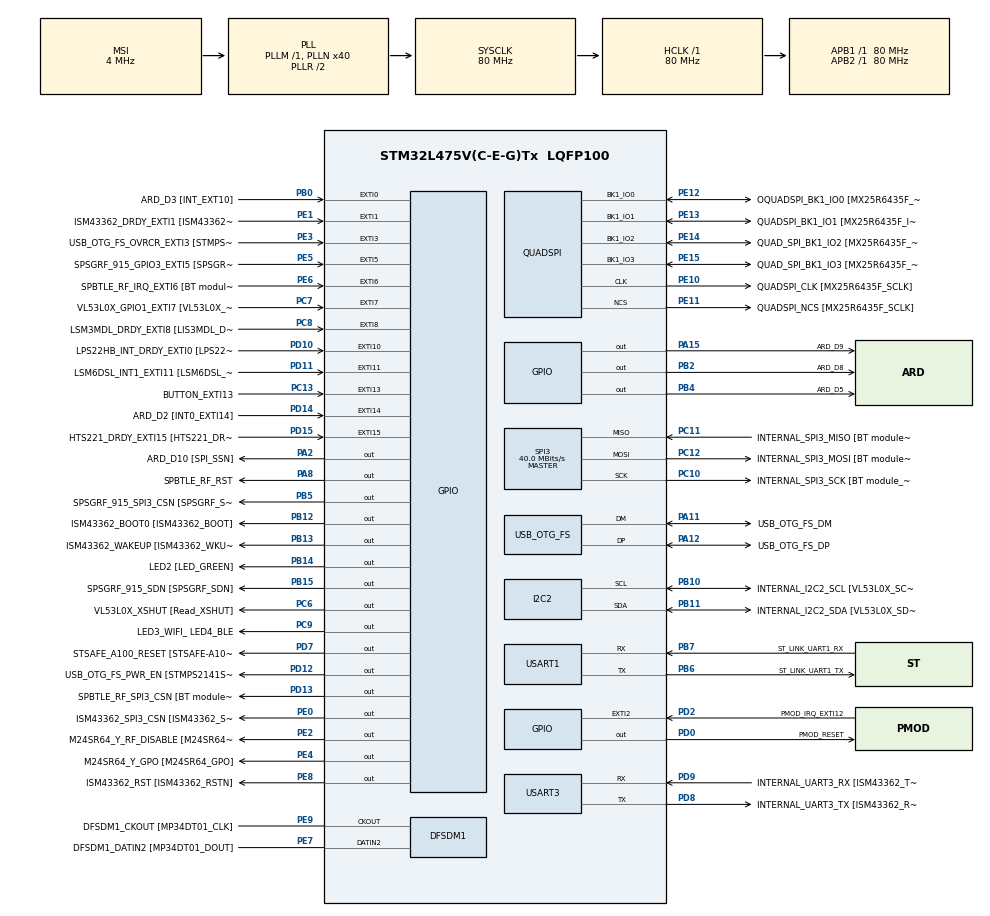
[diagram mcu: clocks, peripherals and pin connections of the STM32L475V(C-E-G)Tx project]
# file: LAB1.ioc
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FREERTOS.BinarySemaphores01=myBinarySem01,Dynamic,NULL,Depleted;myBinarySem02,Dynamic,NULL,Depleted;myBinarySem03,Dynamic,NULL,Available;myBinarySem04,Dynamic,NULL,Available;myBinarySem05,Dynamic,NULL,Available
FREERTOS.Mutexes01=myMutex01,Dynamic,NULL,Depleted;myMutex02,Dynamic,NULL,Depleted;myMutex03,Dynamic,NULL,Depleted;myMutex04,Dynamic,NULL,Depleted;myMutex05,Dynamic,NULL,Available
FREERTOS.Queues01=myQueue01,16,uint16_t,0,Dynamic,NULL,NULL
FREERTOS.Tasks01=myTask02,47,128,StartTask02,Default,NULL,Dynamic,NULL,NULL;defaultTask,24,128,StartTask,Default,NULL,Dynamic,NULL,NULL;myTask03,8,128,StartTask03,Default,NULL,Dynamic,NULL,NULL;myTask04,8,128,StartTask04,Default,NULL,Dynamic,NULL,NULL
I2C2.Timing=0x10D19CE4
Mcu.Family=STM32L4
Mcu.Name=STM32L475V(C-E-G)Tx
Mcu.Package=LQFP100
NVIC.EXTI15_10_IRQn=true\:5\:0\:false\:false\:true\:true\:true\:true\:true
NVIC.EXTI9_5_IRQn=true\:5\:0\:false\:false\:true\:true\:true\:true\:true
NVIC.PriorityGroup=NVIC_PRIORITYGROUP_4
NVIC.TIM6_DAC_IRQn=true\:5\:0\:false\:false\:true\:true\:true\:true\:true
PA0.GPIO_Label=ARD_D1 [UART4_TX]
PA0.Signal=UART4_TX
PA1.GPIO_Label=ARD_D0 [UART4_RX]
PA1.Signal=UART4_RX
PA10.GPIO_Label=USB_OTG_FS_ID
PA10.Signal=USB_OTG_FS_ID
PA11.GPIO_Label=USB_OTG_FS_DM
PA11.Mode=Device_Only
PA11.Signal=USB_OTG_FS_DM
PA12.GPIO_Label=USB_OTG_FS_DP
PA12.Mode=Device_Only
PA12.Signal=USB_OTG_FS_DP
PA13\ (JTMS-SWDIO).GPIO_Label=SYS_JTMS_SWDIO
PA13\ (JTMS-SWDIO).Mode=Trace_Asynchronous_SW
PA13\ (JTMS-SWDIO).Signal=SYS_JTMS-SWDIO
PA14\ (JTCK-SWCLK).GPIO_Label=SYS_JTCK_SWCLK
PA14\ (JTCK-SWCLK).Mode=Trace_Asynchronous_SW
PA14\ (JTCK-SWCLK).Signal=SYS_JTCK-SWCLK
PA15\ (JTDI).GPIO_Label=ARD_D9
PA15\ (JTDI).Signal=GPIO_Output
PA2.GPIO_Label=ARD_D10 [SPI_SSN]
PA2.Signal=GPIO_Output
PA3.GPIO_Label=ARD_D4
PA3.Signal=S_TIM2_CH4
PA4.GPIO_Label=ARD_D7
PA4.Signal=ADCx_IN9
PA5.GPIO_Label=ARD_D13 [SPI1_SCK]
PA5.Signal=SPI1_SCK
PA6.GPIO_Label=ARD_D12 [SPI1_MISO]
PA6.Signal=SPI1_MISO
PA7.GPIO_Label=ARD_D11 [SPI1_MOSI]
PA7.Signal=SPI1_MOSI
PA8.GPIO_Label=SPBTLE_RF_RST
PA8.Signal=GPIO_Output
PA9.GPIO_Label=USB_OTG_FS_VBUS [STMPS2141STR_OUT]
PA9.Signal=USB_OTG_FS_VBUS
PB0.GPIO_Label=ARD_D3 [INT_EXT10]
PB0.Signal=GPXTI0
PB1.GPIO_Label=ARD_D6 [ADC1_IN6]
PB1.Signal=ADCx_IN16
PB10.GPIO_Label=INTERNAL_I2C2_SCL [VL53L0X_SCL]
PB10.GPIO_Pu=GPIO_PULLUP
PB10.Mode=I2C
PB10.Signal=I2C2_SCL
PB11.GPIO_Label=INTERNAL_I2C2_SDA [VL53L0X_SDA]
PB11.GPIO_Pu=GPIO_PULLUP
PB11.Mode=I2C
PB11.Signal=I2C2_SDA
PB12.GPIO_Label=ISM43362_BOOT0 [ISM43362_BOOT]
PB12.Signal=GPIO_Output
PB13.GPIO_Label=ISM43362_WAKEUP [ISM43362_WKUP]
PB13.Signal=GPIO_Output
PB14.GPIO_Label=LED2 [LED_GREEN]
PB14.Signal=GPIO_Output
PB15.GPIO_Label=SPSGRF_915_SDN [SPSGRF_SDN]
PB15.Signal=GPIO_Output
PB2.GPIO_Label=ARD_D8
PB2.Signal=GPIO_Output
PB3\ (JTDO-TRACESWO).GPIO_Label=SYS_JTD0_SWO
PB3\ (JTDO-TRACESWO).Mode=Trace_Asynchronous_SW
PB3\ (JTDO-TRACESWO).Signal=SYS_JTDO-SWO
PB4\ (NJTRST).GPIO_Label=ARD_D5
PB4\ (NJTRST).Signal=GPIO_Output
PB5.GPIO_Label=SPSGRF_915_SPI3_CSN [SPSGRF_SPI_CS]
PB5.PinState=GPIO_PIN_SET
PB5.Signal=GPIO_Output
PB6.GPIO_Label=ST_LINK_UART1_TX
PB6.Mode=Asynchronous
PB6.Signal=USART1_TX
PB7.GPIO_Label=ST_LINK_UART1_RX
PB7.Mode=Asynchronous
PB7.Signal=USART1_RX
PB8.GPIO_Label=ARD_D15 [I2C1_SCL]
PB8.Signal=I2C1_SCL
PB9.GPIO_Label=ARD_D14 [I2C1_SDA]
PB9.Signal=I2C1_SDA
PC0.GPIO_Label=ARD_A5 [ADC]
PC0.Signal=ADCx_IN1
PC1.GPIO_Label=ARD_A4 [ADC]
PC1.Signal=ADCx_IN2
PC10.GPIO_Label=INTERNAL_SPI3_SCK [BT module_SPI_SCLK] [ISM43362_SCK]
PC10.Mode=Full_Duplex_Master
PC10.Signal=SPI3_SCK
PC11.GPIO_Label=INTERNAL_SPI3_MISO [BT module_SPI_MISO] [ISM43362_MISO]
PC11.Mode=Full_Duplex_Master
PC11.Signal=SPI3_MISO
PC12.GPIO_Label=INTERNAL_SPI3_MOSI [BT module_SPI_MOSI] [ISM43362_MOSI]
PC12.Mode=Full_Duplex_Master
PC12.Signal=SPI3_MOSI
PC13.GPIO_Label=BUTTON_EXTI13
PC13.GPIO_ModeDefaultEXTI=GPIO_MODE_IT_RISING_FALLING
PC13.Signal=GPXTI13
PC14-OSC32_IN\ (PC14).Mode=LSE-External-Oscillator
PC14-OSC32_IN\ (PC14).Signal=RCC_OSC32_IN
PC15-OSC32_OUT\ (PC15).Mode=LSE-External-Oscillator
PC15-OSC32_OUT\ (PC15).Signal=RCC_OSC32_OUT
PC2.GPIO_Label=ARD_A3 [ADC]
PC2.Signal=ADCx_IN3
PC3.GPIO_Label=ARD_A2 [ADC]
PC3.Signal=ADCx_IN4
PC4.GPIO_Label=ARD_A1 [ADC]
PC4.Signal=ADCx_IN13
PC5.GPIO_Label=ARD_A0 [ADC]
PC5.Signal=ADCx_IN14
PC6.GPIO_Label=VL53L0X_XSHUT [Read_XSHUT]
PC6.Signal=GPIO_Output
PC7.GPIO_Label=VL53L0X_GPIO1_EXTI7 [VL53L0X_GPIO1]
PC7.Signal=GPXTI7
PC8.GPIO_Label=LSM3MDL_DRDY_EXTI8 [LIS3MDL_DRDY]
PC8.Signal=GPXTI8
PC9.GPIO_Label=LED3_WIFI_ LED4_BLE
PC9.Signal=GPIO_Output
PD0.GPIO_Label=PMOD_RESET
PD0.Signal=GPIO_Output
PD1.GPIO_Label=PMOD_SPI2_SCK
PD1.Signal=SPI2_SCK
PD10.GPIO_Label=LPS22HB_INT_DRDY_EXTI0 [LPS22HB_INT_DRDY] 
PD10.Signal=GPXTI10
PD11.GPIO_Label=LSM6DSL_INT1_EXTI11 [LSM6DSL_INT1]
PD11.Signal=GPXTI11
PD12.GPIO_Label=USB_OTG_FS_PWR_EN [STMPS2141STR_EN]
PD12.Signal=GPIO_Output
PD13.GPIO_Label=SPBTLE_RF_SPI3_CSN [BT module_SPI_CS]
PD13.PinState=GPIO_PIN_SET
PD13.Signal=GPIO_Output
PD14.GPIO_Label=ARD_D2 [INT0_EXTI14]
PD14.Signal=GPXTI14
PD15.GPIO_Label=HTS221_DRDY_EXTI15 [HTS221_DRDY]
PD15.Signal=GPXTI15
PD2.GPIO_Label=PMOD_IRQ_EXTI12
PD2.Signal=GPXTI2
PD3.GPIO_Label=PMOD_UART2_CTS
PD3.Signal=USART2_CTS
PD4.GPIO_Label=PMOD_UART2_RTS
PD4.Signal=USART2_RTS
PD5.GPIO_Label=PMOD_UART2_TX
PD5.Signal=USART2_TX
PD6.GPIO_Label=PMOD_UART2_RX
PD6.Signal=USART2_RX
PD7.GPIO_Label=STSAFE_A100_RESET [STSAFE-A100_RESET]
PD7.Signal=GPIO_Output
PD8.GPIO_Label=INTERNAL_UART3_TX [ISM43362_RX]
PD8.Mode=Asynchronous
PD8.Signal=USART3_TX
PD9.GPIO_Label=INTERNAL_UART3_RX [ISM43362_TX]
PD9.Mode=Asynchronous
PD9.Signal=USART3_RX
PE0.GPIO_Label=ISM43362_SPI3_CSN [ISM43362_SSN]
PE0.PinState=GPIO_PIN_SET
PE0.Signal=GPIO_Output
PE1.GPIO_Label=ISM43362_DRDY_EXTI1 [ISM43362_DATARDY]
PE1.Signal=GPXTI1
PE10.GPIO_Label=QUADSPI_CLK [MX25R6435F_SCLK]
PE10.Mode=Single Bank
PE10.Signal=QUADSPI_CLK
PE11.GPIO_Label=QUADSPI_NCS [MX25R6435F_SCLK]
PE11.Mode=Single Bank
PE11.Signal=QUADSPI_NCS
PE12.GPIO_Label=OQUADSPI_BK1_IO0 [MX25R6435F_IO0]
PE12.Mode=Single Bank
PE12.Signal=QUADSPI_BK1_IO0
PE13.GPIO_Label=QUADSPI_BK1_IO1 [MX25R6435F_IO1]
PE13.Mode=Single Bank
PE13.Signal=QUADSPI_BK1_IO1
PE14.GPIO_Label=QUAD_SPI_BK1_IO2 [MX25R6435F_IO2]
PE14.Mode=Single Bank
PE14.Signal=QUADSPI_BK1_IO2
PE15.GPIO_Label=QUAD_SPI_BK1_IO3 [MX25R6435F_IO3]
PE15.Mode=Single Bank
PE15.Signal=QUADSPI_BK1_IO3
PE2.GPIO_Label=M24SR64_Y_RF_DISABLE [M24SR64_RFDIS]
PE2.Signal=GPIO_Output
PE3.GPIO_Label=USB_OTG_FS_OVRCR_EXTI3 [STMPS2141STR_FAULT]
PE3.Signal=GPXTI3
PE4.GPIO_Label=M24SR64_Y_GPO [M24SR64_GPO]
PE4.Signal=GPIO_Output
PE5.GPIO_Label=SPSGRF_915_GPIO3_EXTI5 [SPSGRF_GPIO_3]
PE5.Signal=GPXTI5
PE6.GPIO_Label=SPBTLE_RF_IRQ_EXTI6 [BT module_SPI_IRQ]
PE6.Signal=GPXTI6
PE7.GPIO_Label=DFSDM1_DATIN2 [MP34DT01_DOUT]
PE7.Signal=S_DATAIN2DFSDM1
PE8.GPIO_Label=ISM43362_RST [ISM43362_RSTN]
PE8.Signal=GPIO_Output
PE9.GPIO_Label=DFSDM1_CKOUT [MP34DT01_CLK]
PE9.Signal=S_CKOUTDFSDM1
ProjectManager.HeapSize=0x200
ProjectManager.StackSize=0x400
ProjectManager.TargetToolchain=STM32CubeIDE
QUADSPI.ClockPrescaler=2
QUADSPI.FifoThreshold=4
QUADSPI.FlashSize=23
QUADSPI.SampleShifting=QSPI_SAMPLE_SHIFTING_HALFCYCLE
RCC.ADCFreq_Value=48000000
RCC.AHBFreq_Value=80000000
RCC.APB1Freq_Value=80000000
RCC.APB1TimFreq_Value=80000000
RCC.APB2Freq_Value=80000000
RCC.APB2TimFreq_Value=80000000
RCC.CortexFreq_Value=80000000
RCC.HCLKFreq_Value=80000000
RCC.HSE_VALUE=8000000
RCC.HSI_VALUE=16000000
RCC.MSI_VALUE=4000000
RCC.PLLN=40
RCC.PLLSAI1N=24
RCC.SYSCLKFreq_VALUE=80000000
RCC.SYSCLKSource=RCC_SYSCLKSOURCE_PLLCLK
RCC.USBFreq_Value=48000000
RCC.VCOOutputFreq_Value=160000000
SH.ADCx_IN1.0=ADC1_IN1
SH.ADCx_IN13.0=ADC1_IN13
SH.ADCx_IN14.0=ADC1_IN14
SH.ADCx_IN16.0=ADC1_IN16
SH.ADCx_IN2.0=ADC1_IN2
SH.ADCx_IN3.0=ADC1_IN3
SH.ADCx_IN4.0=ADC1_IN4
SH.ADCx_IN9.0=ADC1_IN9
SH.S_CKOUTDFSDM1.0=DFSDM1_CKOUT,CKOUT
SH.S_CKOUTDFSDM1.1=DFSDM1_CKOUT,PDM_SPI_Input_from_ch12_and_Internal_Clock
SH.S_DATAIN2DFSDM1.0=DFSDM1_DATIN2,PDM_SPI_Input_from_ch12_and_Internal_Clock
SH.S_TIM2_CH4.0=TIM2_CH4
SPI3.CalculateBaudRate=40.0 MBits/s
SPI3.Direction=SPI_DIRECTION_2LINES
SPI3.Mode=SPI_MODE_MASTER
SPI3.VirtualType=VM_MASTER
TIM6.AutoReloadPreload=TIM_AUTORELOAD_PRELOAD_ENABLE
TIM6.Period=19999
TIM6.Prescaler=39999
USART1.VirtualMode-Asynchronous=VM_ASYNC
USART3.VirtualMode-Asynchronous=VM_ASYNC
USB_OTG_FS.VirtualMode=Device_Only
VP_FREERTOS_VS_CMSIS_V2.Mode=CMSIS_V2
VP_TIM6_VS_ClockSourceINT.Mode=Enable_Timer
board=B-L475E-IOT01A2

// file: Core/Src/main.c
/* USER CODE BEGIN Header */
/**
  ******************************************************************************
  * @file           : main.c
  * @brief          : Main program body
  ******************************************************************************
  * @attention
  *
  * Copyright (c) 2024 STMicroelectronics.
  * All rights reserved.
  *
  * This software is licensed under terms that can be found in the LICENSE file
  * in the root directory of this software component.
  * If no LICENSE file comes with this software, it is provided AS-IS.
  *
  ******************************************************************************
  */
/* USER CODE END Header */
#include "main.h"
#include "cmsis_os.h"

DFSDM_Channel_HandleTypeDef hdfsdm1_channel1;

I2C_HandleTypeDef hi2c2;

QSPI_HandleTypeDef hqspi;

SPI_HandleTypeDef hspi3;

TIM_HandleTypeDef htim6;

UART_HandleTypeDef huart1;
UART_HandleTypeDef huart3;

PCD_HandleTypeDef hpcd_USB_OTG_FS;

/* Definitions for myTask02 */
osThreadId_t myTask02Handle;
const osThreadAttr_t myTask02_attributes = {
  .name = "myTask02",
  .stack_size = 128 * 4,
  .priority = (osPriority_t) osPriorityHigh7,
};
/* Definitions for defaultTask */
osThreadId_t defaultTaskHandle;
const osThreadAttr_t defaultTask_attributes = {
  .name = "defaultTask",
  .stack_size = 128 * 4,
  .priority = (osPriority_t) osPriorityNormal,
};
/* Definitions for myTask03 */
osThreadId_t myTask03Handle;
const osThreadAttr_t myTask03_attributes = {
  .name = "myTask03",
  .stack_size = 128 * 4,
  .priority = (osPriority_t) osPriorityLow,
};
/* Definitions for myTask04 */
osThreadId_t myTask04Handle;
const osThreadAttr_t myTask04_attributes = {
  .name = "myTask04",
  .stack_size = 128 * 4,
  .priority = (osPriority_t) osPriorityLow,
};
/* Definitions for myQueue01 */
osMessageQueueId_t myQueue01Handle;
const osMessageQueueAttr_t myQueue01_attributes = {
  .name = "myQueue01"
};
/* Definitions for myMutex01 */
osMutexId_t myMutex01Handle;
const osMutexAttr_t myMutex01_attributes = {
  .name = "myMutex01"
};
/* Definitions for myMutex02 */
osMutexId_t myMutex02Handle;
const osMutexAttr_t myMutex02_attributes = {
  .name = "myMutex02"
};
/* Definitions for myMutex03 */
osMutexId_t myMutex03Handle;
const osMutexAttr_t myMutex03_attributes = {
  .name = "myMutex03"
};
/* Definitions for myMutex04 */
osMutexId_t myMutex04Handle;
const osMutexAttr_t myMutex04_attributes = {
  .name = "myMutex04"
};
/* Definitions for myMutex05 */
osMutexId_t myMutex05Handle;
const osMutexAttr_t myMutex05_attributes = {
  .name = "myMutex05"
};
/* Definitions for myBinarySem01 */
osSemaphoreId_t myBinarySem01Handle;
const osSemaphoreAttr_t myBinarySem01_attributes = {
  .name = "myBinarySem01"
};
/* Definitions for myBinarySem02 */
osSemaphoreId_t myBinarySem02Handle;
const osSemaphoreAttr_t myBinarySem02_attributes = {
  .name = "myBinarySem02"
};
/* Definitions for myBinarySem03 */
osSemaphoreId_t myBinarySem03Handle;
const osSemaphoreAttr_t myBinarySem03_attributes = {
  .name = "myBinarySem03"
};
/* Definitions for myBinarySem04 */
osSemaphoreId_t myBinarySem04Handle;
const osSemaphoreAttr_t myBinarySem04_attributes = {
  .name = "myBinarySem04"
};
/* Definitions for myBinarySem05 */
osSemaphoreId_t myBinarySem05Handle;
const osSemaphoreAttr_t myBinarySem05_attributes = {
  .name = "myBinarySem05"
};

void SystemClock_Config(void);
static void MX_GPIO_Init(void);
static void MX_DFSDM1_Init(void);
static void MX_I2C2_Init(void);
static void MX_QUADSPI_Init(void);
static void MX_SPI3_Init(void);
static void MX_USART1_UART_Init(void);
static void MX_USART3_UART_Init(void);
static void MX_USB_OTG_FS_PCD_Init(void);
static void MX_TIM6_Init(void);
void StartTask02(void *argument);
void StartTask(void *argument);
void StartTask03(void *argument);
void StartTask04(void *argument);

int main(void)
{

  /* MCU Configuration--------------------------------------------------------*/

  /* Reset of all peripherals, Initializes the Flash interface and the Systick. */
  HAL_Init();

  /* Configure the system clock */
  SystemClock_Config();

  /* Initialize all configured peripherals */
  MX_GPIO_Init();
  MX_DFSDM1_Init();
  MX_I2C2_Init();
  MX_QUADSPI_Init();
  MX_SPI3_Init();
  MX_USART1_UART_Init();
  MX_USART3_UART_Init();
  MX_USB_OTG_FS_PCD_Init();
  MX_TIM6_Init();

  /* Init scheduler */
  osKernelInitialize();
  /* Create the mutex(es) */
  /* creation of myMutex01 */
  myMutex01Handle = osMutexNew(&myMutex01_attributes);

  /* creation of myMutex02 */
  myMutex02Handle = osMutexNew(&myMutex02_attributes);

  /* creation of myMutex03 */
  myMutex03Handle = osMutexNew(&myMutex03_attributes);

  /* creation of myMutex04 */
  myMutex04Handle = osMutexNew(&myMutex04_attributes);

  /* creation of myMutex05 */
  myMutex05Handle = osMutexNew(&myMutex05_attributes);

  /* Create the semaphores(s) */
  /* creation of myBinarySem01 */
  myBinarySem01Handle = osSemaphoreNew(1, 0, &myBinarySem01_attributes);

  /* creation of myBinarySem02 */
  myBinarySem02Handle = osSemaphoreNew(1, 0, &myBinarySem02_attributes);

  /* creation of myBinarySem03 */
  myBinarySem03Handle = osSemaphoreNew(1, 1, &myBinarySem03_attributes);

  /* creation of myBinarySem04 */
  myBinarySem04Handle = osSemaphoreNew(1, 1, &myBinarySem04_attributes);

  /* creation of myBinarySem05 */
  myBinarySem05Handle = osSemaphoreNew(1, 1, &myBinarySem05_attributes);

  /* USER CODE BEGIN RTOS_TIMERS */
  /* start timers, add new ones, ... */
//  HAL_TIM_Base_Start_IT(&htim6);
  HAL_TIM_Base_Start_IT(&htim6);
//  HAL_TIM_Base_Start(&htim6);
//  HAL_TIM_Base_Start(&htim6);
  /* USER CODE END RTOS_TIMERS */

  /* Create the queue(s) */
  /* creation of myQueue01 */
  myQueue01Handle = osMessageQueueNew (16, sizeof(uint16_t), &myQueue01_attributes);

  /* Create the thread(s) */
  /* creation of myTask02 */
  myTask02Handle = osThreadNew(StartTask02, NULL, &myTask02_attributes);

  /* creation of defaultTask */
  defaultTaskHandle = osThreadNew(StartTask, NULL, &defaultTask_attributes);

  /* creation of myTask03 */
  myTask03Handle = osThreadNew(StartTask03, NULL, &myTask03_attributes);

  /* creation of myTask04 */
  myTask04Handle = osThreadNew(StartTask04, NULL, &myTask04_attributes);

  /* Start scheduler */
  osKernelStart();

  /* We should never get here as control is now taken by the scheduler */

  /* Infinite loop */
  while (1)
  {

  }
}

void SystemClock_Config(void)
{
  RCC_OscInitTypeDef RCC_OscInitStruct = {0};
  RCC_ClkInitTypeDef RCC_ClkInitStruct = {0};

  /** Configure the main internal regulator output voltage
  */
  if (HAL_PWREx_ControlVoltageScaling(PWR_REGULATOR_VOLTAGE_SCALE1) != HAL_OK)
  {
    Error_Handler();
  }

  /** Configure LSE Drive Capability
  */
  HAL_PWR_EnableBkUpAccess();
  __HAL_RCC_LSEDRIVE_CONFIG(RCC_LSEDRIVE_LOW);

  /** Initializes the RCC Oscillators according to the specified parameters
  * in the RCC_OscInitTypeDef structure.
  */
  RCC_OscInitStruct.OscillatorType = RCC_OSCILLATORTYPE_LSE|RCC_OSCILLATORTYPE_MSI;
  RCC_OscInitStruct.LSEState = RCC_LSE_ON;
  RCC_OscInitStruct.MSIState = RCC_MSI_ON;
  RCC_OscInitStruct.MSICalibrationValue = 0;
  RCC_OscInitStruct.MSIClockRange = RCC_MSIRANGE_6;
  RCC_OscInitStruct.PLL.PLLState = RCC_PLL_ON;
  RCC_OscInitStruct.PLL.PLLSource = RCC_PLLSOURCE_MSI;
  RCC_OscInitStruct.PLL.PLLM = 1;
  RCC_OscInitStruct.PLL.PLLN = 40;
  RCC_OscInitStruct.PLL.PLLP = RCC_PLLP_DIV7;
  RCC_OscInitStruct.PLL.PLLQ = RCC_PLLQ_DIV2;
  RCC_OscInitStruct.PLL.PLLR = RCC_PLLR_DIV2;
  if (HAL_RCC_OscConfig(&RCC_OscInitStruct) != HAL_OK)
  {
    Error_Handler();
  }

  /** Initializes the CPU, AHB and APB buses clocks
  */
  RCC_ClkInitStruct.ClockType = RCC_CLOCKTYPE_HCLK|RCC_CLOCKTYPE_SYSCLK
                              |RCC_CLOCKTYPE_PCLK1|RCC_CLOCKTYPE_PCLK2;
  RCC_ClkInitStruct.SYSCLKSource = RCC_SYSCLKSOURCE_PLLCLK;
  RCC_ClkInitStruct.AHBCLKDivider = RCC_SYSCLK_DIV1;
  RCC_ClkInitStruct.APB1CLKDivider = RCC_HCLK_DIV1;
  RCC_ClkInitStruct.APB2CLKDivider = RCC_HCLK_DIV1;

  if (HAL_RCC_ClockConfig(&RCC_ClkInitStruct, FLASH_LATENCY_4) != HAL_OK)
  {
    Error_Handler();
  }

  /** Enable MSI Auto calibration
  */
  HAL_RCCEx_EnableMSIPLLMode();
}

static void MX_DFSDM1_Init(void)
{

  hdfsdm1_channel1.Instance = DFSDM1_Channel1;
  hdfsdm1_channel1.Init.OutputClock.Activation = ENABLE;
  hdfsdm1_channel1.Init.OutputClock.Selection = DFSDM_CHANNEL_OUTPUT_CLOCK_SYSTEM;
  hdfsdm1_channel1.Init.OutputClock.Divider = 2;
  hdfsdm1_channel1.Init.Input.Multiplexer = DFSDM_CHANNEL_EXTERNAL_INPUTS;
  hdfsdm1_channel1.Init.Input.DataPacking = DFSDM_CHANNEL_STANDARD_MODE;
  hdfsdm1_channel1.Init.Input.Pins = DFSDM_CHANNEL_FOLLOWING_CHANNEL_PINS;
  hdfsdm1_channel1.Init.SerialInterface.Type = DFSDM_CHANNEL_SPI_RISING;
  hdfsdm1_channel1.Init.SerialInterface.SpiClock = DFSDM_CHANNEL_SPI_CLOCK_INTERNAL;
  hdfsdm1_channel1.Init.Awd.FilterOrder = DFSDM_CHANNEL_FASTSINC_ORDER;
  hdfsdm1_channel1.Init.Awd.Oversampling = 1;
  hdfsdm1_channel1.Init.Offset = 0;
  hdfsdm1_channel1.Init.RightBitShift = 0x00;
  if (HAL_DFSDM_ChannelInit(&hdfsdm1_channel1) != HAL_OK)
  {
    Error_Handler();
  }

}

static void MX_I2C2_Init(void)
{

  hi2c2.Instance = I2C2;
  hi2c2.Init.Timing = 0x10D19CE4;
  hi2c2.Init.OwnAddress1 = 0;
  hi2c2.Init.AddressingMode = I2C_ADDRESSINGMODE_7BIT;
  hi2c2.Init.DualAddressMode = I2C_DUALADDRESS_DISABLE;
  hi2c2.Init.OwnAddress2 = 0;
  hi2c2.Init.OwnAddress2Masks = I2C_OA2_NOMASK;
  hi2c2.Init.GeneralCallMode = I2C_GENERALCALL_DISABLE;
  hi2c2.Init.NoStretchMode = I2C_NOSTRETCH_DISABLE;
  if (HAL_I2C_Init(&hi2c2) != HAL_OK)
  {
    Error_Handler();
  }

  /** Configure Analogue filter
  */
  if (HAL_I2CEx_ConfigAnalogFilter(&hi2c2, I2C_ANALOGFILTER_ENABLE) != HAL_OK)
  {
    Error_Handler();
  }

  /** Configure Digital filter
  */
  if (HAL_I2CEx_ConfigDigitalFilter(&hi2c2, 0) != HAL_OK)
  {
    Error_Handler();
  }

}

static void MX_QUADSPI_Init(void)
{

  /* QUADSPI parameter configuration*/
  hqspi.Instance = QUADSPI;
  hqspi.Init.ClockPrescaler = 2;
  hqspi.Init.FifoThreshold = 4;
  hqspi.Init.SampleShifting = QSPI_SAMPLE_SHIFTING_HALFCYCLE;
  hqspi.Init.FlashSize = 23;
  hqspi.Init.ChipSelectHighTime = QSPI_CS_HIGH_TIME_1_CYCLE;
  hqspi.Init.ClockMode = QSPI_CLOCK_MODE_0;
  if (HAL_QSPI_Init(&hqspi) != HAL_OK)
  {
    Error_Handler();
  }

}

static void MX_SPI3_Init(void)
{

  /* SPI3 parameter configuration*/
  hspi3.Instance = SPI3;
  hspi3.Init.Mode = SPI_MODE_MASTER;
  hspi3.Init.Direction = SPI_DIRECTION_2LINES;
  hspi3.Init.DataSize = SPI_DATASIZE_4BIT;
  hspi3.Init.CLKPolarity = SPI_POLARITY_LOW;
  hspi3.Init.CLKPhase = SPI_PHASE_1EDGE;
  hspi3.Init.NSS = SPI_NSS_SOFT;
  hspi3.Init.BaudRatePrescaler = SPI_BAUDRATEPRESCALER_2;
  hspi3.Init.FirstBit = SPI_FIRSTBIT_MSB;
  hspi3.Init.TIMode = SPI_TIMODE_DISABLE;
  hspi3.Init.CRCCalculation = SPI_CRCCALCULATION_DISABLE;
  hspi3.Init.CRCPolynomial = 7;
  hspi3.Init.CRCLength = SPI_CRC_LENGTH_DATASIZE;
  hspi3.Init.NSSPMode = SPI_NSS_PULSE_ENABLE;
  if (HAL_SPI_Init(&hspi3) != HAL_OK)
  {
    Error_Handler();
  }

}

static void MX_TIM6_Init(void)
{

  TIM_MasterConfigTypeDef sMasterConfig = {0};

  htim6.Instance = TIM6;
  htim6.Init.Prescaler = 39999;
  htim6.Init.CounterMode = TIM_COUNTERMODE_UP;
  htim6.Init.Period = 19999;
  htim6.Init.AutoReloadPreload = TIM_AUTORELOAD_PRELOAD_ENABLE;
  if (HAL_TIM_Base_Init(&htim6) != HAL_OK)
  {
    Error_Handler();
  }
  sMasterConfig.MasterOutputTrigger = TIM_TRGO_RESET;
  sMasterConfig.MasterSlaveMode = TIM_MASTERSLAVEMODE_DISABLE;
  if (HAL_TIMEx_MasterConfigSynchronization(&htim6, &sMasterConfig) != HAL_OK)
  {
    Error_Handler();
  }

}

static void MX_USART1_UART_Init(void)
{

  huart1.Instance = USART1;
  huart1.Init.BaudRate = 115200;
  huart1.Init.WordLength = UART_WORDLENGTH_8B;
  huart1.Init.StopBits = UART_STOPBITS_1;
  huart1.Init.Parity = UART_PARITY_NONE;
  huart1.Init.Mode = UART_MODE_TX_RX;
  huart1.Init.HwFlowCtl = UART_HWCONTROL_NONE;
  huart1.Init.OverSampling = UART_OVERSAMPLING_16;
  huart1.Init.OneBitSampling = UART_ONE_BIT_SAMPLE_DISABLE;
  huart1.AdvancedInit.AdvFeatureInit = UART_ADVFEATURE_NO_INIT;
  if (HAL_UART_Init(&huart1) != HAL_OK)
  {
    Error_Handler();
  }

}

static void MX_USART3_UART_Init(void)
{

  huart3.Instance = USART3;
  huart3.Init.BaudRate = 115200;
  huart3.Init.WordLength = UART_WORDLENGTH_8B;
  huart3.Init.StopBits = UART_STOPBITS_1;
  huart3.Init.Parity = UART_PARITY_NONE;
  huart3.Init.Mode = UART_MODE_TX_RX;
  huart3.Init.HwFlowCtl = UART_HWCONTROL_NONE;
  huart3.Init.OverSampling = UART_OVERSAMPLING_16;
  huart3.Init.OneBitSampling = UART_ONE_BIT_SAMPLE_DISABLE;
  huart3.AdvancedInit.AdvFeatureInit = UART_ADVFEATURE_NO_INIT;
  if (HAL_UART_Init(&huart3) != HAL_OK)
  {
    Error_Handler();
  }

}

static void MX_USB_OTG_FS_PCD_Init(void)
{

  hpcd_USB_OTG_FS.Instance = USB_OTG_FS;
  hpcd_USB_OTG_FS.Init.dev_endpoints = 6;
  hpcd_USB_OTG_FS.Init.speed = PCD_SPEED_FULL;
  hpcd_USB_OTG_FS.Init.phy_itface = PCD_PHY_EMBEDDED;
  hpcd_USB_OTG_FS.Init.Sof_enable = DISABLE;
  hpcd_USB_OTG_FS.Init.low_power_enable = DISABLE;
  hpcd_USB_OTG_FS.Init.lpm_enable = DISABLE;
  hpcd_USB_OTG_FS.Init.battery_charging_enable = DISABLE;
  hpcd_USB_OTG_FS.Init.use_dedicated_ep1 = DISABLE;
  hpcd_USB_OTG_FS.Init.vbus_sensing_enable = DISABLE;
  if (HAL_PCD_Init(&hpcd_USB_OTG_FS) != HAL_OK)
  {
    Error_Handler();
  }

}

static void MX_GPIO_Init(void)
{
  GPIO_InitTypeDef GPIO_InitStruct = {0};

  /* GPIO Ports Clock Enable */
  __HAL_RCC_GPIOE_CLK_ENABLE();
  __HAL_RCC_GPIOC_CLK_ENABLE();
  __HAL_RCC_GPIOA_CLK_ENABLE();
  __HAL_RCC_GPIOB_CLK_ENABLE();
  __HAL_RCC_GPIOD_CLK_ENABLE();

  /*Configure GPIO pin Output Level */
  HAL_GPIO_WritePin(GPIOE, M24SR64_Y_RF_DISABLE_Pin|M24SR64_Y_GPO_Pin|ISM43362_RST_Pin, GPIO_PIN_RESET);

  /*Configure GPIO pin Output Level */
  HAL_GPIO_WritePin(GPIOA, ARD_D10_Pin|SPBTLE_RF_RST_Pin|ARD_D9_Pin, GPIO_PIN_RESET);

  /*Configure GPIO pin Output Level */
  HAL_GPIO_WritePin(GPIOB, ARD_D8_Pin|ISM43362_BOOT0_Pin|ISM43362_WAKEUP_Pin|LED2_Pin
                          |SPSGRF_915_SDN_Pin|ARD_D5_Pin, GPIO_PIN_RESET);

  /*Configure GPIO pin Output Level */
  HAL_GPIO_WritePin(GPIOD, USB_OTG_FS_PWR_EN_Pin|PMOD_RESET_Pin|STSAFE_A100_RESET_Pin, GPIO_PIN_RESET);

  /*Configure GPIO pin Output Level */
  HAL_GPIO_WritePin(SPBTLE_RF_SPI3_CSN_GPIO_Port, SPBTLE_RF_SPI3_CSN_Pin, GPIO_PIN_SET);

  /*Configure GPIO pin Output Level */
  HAL_GPIO_WritePin(GPIOC, VL53L0X_XSHUT_Pin|LED3_WIFI__LED4_BLE_Pin, GPIO_PIN_RESET);

  /*Configure GPIO pin Output Level */
  HAL_GPIO_WritePin(SPSGRF_915_SPI3_CSN_GPIO_Port, SPSGRF_915_SPI3_CSN_Pin, GPIO_PIN_SET);

  /*Configure GPIO pin Output Level */
  HAL_GPIO_WritePin(ISM43362_SPI3_CSN_GPIO_Port, ISM43362_SPI3_CSN_Pin, GPIO_PIN_SET);

  /*Configure GPIO pins : M24SR64_Y_RF_DISABLE_Pin M24SR64_Y_GPO_Pin ISM43362_RST_Pin ISM43362_SPI3_CSN_Pin */
  GPIO_InitStruct.Pin = M24SR64_Y_RF_DISABLE_Pin|M24SR64_Y_GPO_Pin|ISM43362_RST_Pin|ISM43362_SPI3_CSN_Pin;
  GPIO_InitStruct.Mode = GPIO_MODE_OUTPUT_PP;
  GPIO_InitStruct.Pull = GPIO_NOPULL;
  GPIO_InitStruct.Speed = GPIO_SPEED_FREQ_LOW;
  HAL_GPIO_Init(GPIOE, &GPIO_InitStruct);

  /*Configure GPIO pins : USB_OTG_FS_OVRCR_EXTI3_Pin SPSGRF_915_GPIO3_EXTI5_Pin SPBTLE_RF_IRQ_EXTI6_Pin ISM43362_DRDY_EXTI1_Pin */
  GPIO_InitStruct.Pin = USB_OTG_FS_OVRCR_EXTI3_Pin|SPSGRF_915_GPIO3_EXTI5_Pin|SPBTLE_RF_IRQ_EXTI6_Pin|ISM43362_DRDY_EXTI1_Pin;
  GPIO_InitStruct.Mode = GPIO_MODE_IT_RISING;
  GPIO_InitStruct.Pull = GPIO_NOPULL;
  HAL_GPIO_Init(GPIOE, &GPIO_InitStruct);

  /*Configure GPIO pin : BUTTON_EXTI13_Pin */
  GPIO_InitStruct.Pin = BUTTON_EXTI13_Pin;
  GPIO_InitStruct.Mode = GPIO_MODE_IT_RISING_FALLING;
  GPIO_InitStruct.Pull = GPIO_NOPULL;
  HAL_GPIO_Init(BUTTON_EXTI13_GPIO_Port, &GPIO_InitStruct);

  /*Configure GPIO pins : ARD_A5_Pin ARD_A4_Pin ARD_A3_Pin ARD_A2_Pin
                           ARD_A1_Pin ARD_A0_Pin */
  GPIO_InitStruct.Pin = ARD_A5_Pin|ARD_A4_Pin|ARD_A3_Pin|ARD_A2_Pin
                          |ARD_A1_Pin|ARD_A0_Pin;
  GPIO_InitStruct.Mode = GPIO_MODE_ANALOG_ADC_CONTROL;
  GPIO_InitStruct.Pull = GPIO_NOPULL;
  HAL_GPIO_Init(GPIOC, &GPIO_InitStruct);

  /*Configure GPIO pins : ARD_D1_Pin ARD_D0_Pin */
  GPIO_InitStruct.Pin = ARD_D1_Pin|ARD_D0_Pin;
  GPIO_InitStruct.Mode = GPIO_MODE_AF_PP;
  GPIO_InitStruct.Pull = GPIO_NOPULL;
  GPIO_InitStruct.Speed = GPIO_SPEED_FREQ_VERY_HIGH;
  GPIO_InitStruct.Alternate = GPIO_AF8_UART4;
  HAL_GPIO_Init(GPIOA, &GPIO_InitStruct);

  /*Configure GPIO pins : ARD_D10_Pin SPBTLE_RF_RST_Pin ARD_D9_Pin */
  GPIO_InitStruct.Pin = ARD_D10_Pin|SPBTLE_RF_RST_Pin|ARD_D9_Pin;
  GPIO_InitStruct.Mode = GPIO_MODE_OUTPUT_PP;
  GPIO_InitStruct.Pull = GPIO_NOPULL;
  GPIO_InitStruct.Speed = GPIO_SPEED_FREQ_LOW;
  HAL_GPIO_Init(GPIOA, &GPIO_InitStruct);

  /*Configure GPIO pin : ARD_D4_Pin */
  GPIO_InitStruct.Pin = ARD_D4_Pin;
  GPIO_InitStruct.Mode = GPIO_MODE_AF_PP;
  GPIO_InitStruct.Pull = GPIO_NOPULL;
  GPIO_InitStruct.Speed = GPIO_SPEED_FREQ_LOW;
  GPIO_InitStruct.Alternate = GPIO_AF1_TIM2;
  HAL_GPIO_Init(ARD_D4_GPIO_Port, &GPIO_InitStruct);

  /*Configure GPIO pin : ARD_D7_Pin */
  GPIO_InitStruct.Pin = ARD_D7_Pin;
  GPIO_InitStruct.Mode = GPIO_MODE_ANALOG_ADC_CONTROL;
  GPIO_InitStruct.Pull = GPIO_NOPULL;
  HAL_GPIO_Init(ARD_D7_GPIO_Port, &GPIO_InitStruct);

  /*Configure GPIO pins : ARD_D13_Pin ARD_D12_Pin ARD_D11_Pin */
  GPIO_InitStruct.Pin = ARD_D13_Pin|ARD_D12_Pin|ARD_D11_Pin;
  GPIO_InitStruct.Mode = GPIO_MODE_AF_PP;
  GPIO_InitStruct.Pull = GPIO_NOPULL;
  GPIO_InitStruct.Speed = GPIO_SPEED_FREQ_VERY_HIGH;
  GPIO_InitStruct.Alternate = GPIO_AF5_SPI1;
  HAL_GPIO_Init(GPIOA, &GPIO_InitStruct);

  /*Configure GPIO pin : ARD_D3_Pin */
  GPIO_InitStruct.Pin = ARD_D3_Pin;
  GPIO_InitStruct.Mode = GPIO_MODE_IT_RISING;
  GPIO_InitStruct.Pull = GPIO_NOPULL;
  HAL_GPIO_Init(ARD_D3_GPIO_Port, &GPIO_InitStruct);

  /*Configure GPIO pin : ARD_D6_Pin */
  GPIO_InitStruct.Pin = ARD_D6_Pin;
  GPIO_InitStruct.Mode = GPIO_MODE_ANALOG_ADC_CONTROL;
  GPIO_InitStruct.Pull = GPIO_NOPULL;
  HAL_GPIO_Init(ARD_D6_GPIO_Port, &GPIO_InitStruct);

  /*Configure GPIO pins : ARD_D8_Pin ISM43362_BOOT0_Pin ISM43362_WAKEUP_Pin LED2_Pin
                           SPSGRF_915_SDN_Pin ARD_D5_Pin SPSGRF_915_SPI3_CSN_Pin */
  GPIO_InitStruct.Pin = ARD_D8_Pin|ISM43362_BOOT0_Pin|ISM43362_WAKEUP_Pin|LED2_Pin
                          |SPSGRF_915_SDN_Pin|ARD_D5_Pin|SPSGRF_915_SPI3_CSN_Pin;
  GPIO_InitStruct.Mode = GPIO_MODE_OUTPUT_PP;
  GPIO_InitStruct.Pull = GPIO_NOPULL;
  GPIO_InitStruct.Speed = GPIO_SPEED_FREQ_LOW;
  HAL_GPIO_Init(GPIOB, &GPIO_InitStruct);

  /*Configure GPIO pins : LPS22HB_INT_DRDY_EXTI0_Pin LSM6DSL_INT1_EXTI11_Pin ARD_D2_Pin HTS221_DRDY_EXTI15_Pin
                           PMOD_IRQ_EXTI12_Pin */
  GPIO_InitStruct.Pin = LPS22HB_INT_DRDY_EXTI0_Pin|LSM6DSL_INT1_EXTI11_Pin|ARD_D2_Pin|HTS221_DRDY_EXTI15_Pin
                          |PMOD_IRQ_EXTI12_Pin;
  GPIO_InitStruct.Mode = GPIO_MODE_IT_RISING;
  GPIO_InitStruct.Pull = GPIO_NOPULL;
  HAL_GPIO_Init(GPIOD, &GPIO_InitStruct);

  /*Configure GPIO pins : USB_OTG_FS_PWR_EN_Pin SPBTLE_RF_SPI3_CSN_Pin PMOD_RESET_Pin STSAFE_A100_RESET_Pin */
  GPIO_InitStruct.Pin = USB_OTG_FS_PWR_EN_Pin|SPBTLE_RF_SPI3_CSN_Pin|PMOD_RESET_Pin|STSAFE_A100_RESET_Pin;
  GPIO_InitStruct.Mode = GPIO_MODE_OUTPUT_PP;
  GPIO_InitStruct.Pull = GPIO_NOPULL;
  GPIO_InitStruct.Speed = GPIO_SPEED_FREQ_LOW;
  HAL_GPIO_Init(GPIOD, &GPIO_InitStruct);

  /*Configure GPIO pins : VL53L0X_XSHUT_Pin LED3_WIFI__LED4_BLE_Pin */
  GPIO_InitStruct.Pin = VL53L0X_XSHUT_Pin|LED3_WIFI__LED4_BLE_Pin;
  GPIO_InitStruct.Mode = GPIO_MODE_OUTPUT_PP;
  GPIO_InitStruct.Pull = GPIO_NOPULL;
  GPIO_InitStruct.Speed = GPIO_SPEED_FREQ_LOW;
  HAL_GPIO_Init(GPIOC, &GPIO_InitStruct);

  /*Configure GPIO pins : VL53L0X_GPIO1_EXTI7_Pin LSM3MDL_DRDY_EXTI8_Pin */
  GPIO_InitStruct.Pin = VL53L0X_GPIO1_EXTI7_Pin|LSM3MDL_DRDY_EXTI8_Pin;
  GPIO_InitStruct.Mode = GPIO_MODE_IT_RISING;
  GPIO_InitStruct.Pull = GPIO_NOPULL;
  HAL_GPIO_Init(GPIOC, &GPIO_InitStruct);

  /*Configure GPIO pin : PMOD_SPI2_SCK_Pin */
  GPIO_InitStruct.Pin = PMOD_SPI2_SCK_Pin;
  GPIO_InitStruct.Mode = GPIO_MODE_AF_PP;
  GPIO_InitStruct.Pull = GPIO_NOPULL;
  GPIO_InitStruct.Speed = GPIO_SPEED_FREQ_VERY_HIGH;
  GPIO_InitStruct.Alternate = GPIO_AF5_SPI2;
  HAL_GPIO_Init(PMOD_SPI2_SCK_GPIO_Port, &GPIO_InitStruct);

  /*Configure GPIO pins : PMOD_UART2_CTS_Pin PMOD_UART2_RTS_Pin PMOD_UART2_TX_Pin PMOD_UART2_RX_Pin */
  GPIO_InitStruct.Pin = PMOD_UART2_CTS_Pin|PMOD_UART2_RTS_Pin|PMOD_UART2_TX_Pin|PMOD_UART2_RX_Pin;
  GPIO_InitStruct.Mode = GPIO_MODE_AF_PP;
  GPIO_InitStruct.Pull = GPIO_NOPULL;
  GPIO_InitStruct.Speed = GPIO_SPEED_FREQ_VERY_HIGH;
  GPIO_InitStruct.Alternate = GPIO_AF7_USART2;
  HAL_GPIO_Init(GPIOD, &GPIO_InitStruct);

  /*Configure GPIO pins : ARD_D15_Pin ARD_D14_Pin */
  GPIO_InitStruct.Pin = ARD_D15_Pin|ARD_D14_Pin;
  GPIO_InitStruct.Mode = GPIO_MODE_AF_OD;
  GPIO_InitStruct.Pull = GPIO_NOPULL;
  GPIO_InitStruct.Speed = GPIO_SPEED_FREQ_VERY_HIGH;
  GPIO_InitStruct.Alternate = GPIO_AF4_I2C1;
  HAL_GPIO_Init(GPIOB, &GPIO_InitStruct);

  /* EXTI interrupt init*/
  HAL_NVIC_SetPriority(EXTI9_5_IRQn, 5, 0);
  HAL_NVIC_EnableIRQ(EXTI9_5_IRQn);

  HAL_NVIC_SetPriority(EXTI15_10_IRQn, 5, 0);
  HAL_NVIC_EnableIRQ(EXTI15_10_IRQn);

}

/* USER CODE BEGIN 4 */

//#ifdef __GNUC__
//  #define PUTCHAR_PROTOTYPE int __io_putchar(int ch)
//#else
//  #define PUTCHAR_PROTOTYPE int fputc(int ch, FILE *f)
//#endif /* __GNUC__ */
//
//PUTCHAR_PROTOTYPE
//{
//HAL_UART_Transmit(&huart1, (uint8_t *)&ch, 1, 0xFFFF);
//return ch;
//}

int _write(int file, char *ptr, int len)
{
  (void)file;
  int DataIdx;

  for (DataIdx = 0; DataIdx < len; DataIdx++)
  {
	  ITM_SendChar(*ptr++);
  }
  return len;
}

//typedef enum {
//    SHORT_PRESS,
//    LONG_PRESS,
//	AUTO_PRESS
//} PressType ;
//QueueHandle_t xQueue ;
//xQueue = xQueueCreate(10, sizeof(PressType));
volatile uint8_t buttonState = 0; // 0: released, 1: pressed
volatile uint32_t buttonPressTime = 0;

uint16_t SHORT_PRESS = 0;
uint16_t LONG_PRESS = 1;
uint16_t AUTO_PRESS = 2;

//int _write(int32_t file, uint8_t *ptr, int32_t len)
//{
// for (int i = 0; i < len; i++)
// {
//  ITM_SendChar(*ptr++);
// }
// return len;
//}
void HAL_GPIO_EXTI_Callback(uint16_t GPIO_Pin)
{
	if (GPIO_Pin == BUTTON_EXTI13_Pin){

		if (HAL_GPIO_ReadPin(BUTTON_EXTI13_GPIO_Port, BUTTON_EXTI13_Pin) == 0){
			 buttonPressTime = xTaskGetTickCount();
			 buttonState = 1;
			 printf("hello \n");

		}
		else {
		            // Button released
		   if (buttonState == 1) {
		        uint32_t pressDuration = xTaskGetTickCount() - buttonPressTime;
		       buttonState = 0;

		        // Check if it's a long press or short press
//		       uint16_t data1 = (pressDuration >= pdMS_TO_TICKS(1000)) ? LONG_PRESS : SHORT_PRESS;
//		        osMessageQueuePut(myQueue01Handle  , &data1, 1, 100);

		       if(  pressDuration >= pdMS_TO_TICKS(1000) ){
		    	   osSemaphoreRelease(myBinarySem03Handle);
		    	   //osMessageQueuePut(myQueue01Handle  , &LONG_PRESS , 1, 100);
		       }
		       else{
		    	   osSemaphoreRelease(myBinarySem01Handle);
		    	   //osMessageQueuePut(myQueue01Handle  , &SHORT_PRESS, 1, 100);
		       }
		   }
		}

	}
}
//void GET_QUEUE_MESSAGE (){
//
//	//osStatus_t Message ;
//	//osMutexRelease(myMutex01Handle);
//	osSemaphoreRelease(myBinarySem05Handle);
//	for(;;){
//		osSemaphoreAcquire(myBinarySem05Handle, osWaitForever);
//		//osMutexAcquire(myMutex01Handle, osWaitForever);
//		uint16_t data ;
//		osMessageQueueGet ( myQueue01Handle ,&data  ,NULL ,  osWaitForever );
////			if(data  == SHORT_PRESS ){
////				osSemaphoreRelease(myBinarySem03Handle);
////			}
////			else if(data == LONG_PRESS){
////				osSemaphoreRelease(myBinarySem01Handle);
////			}
////			else if(data   == AUTO_PRESS){
////				osSemaphoreRelease(myBinarySem02Handle);
////			}
//
//
//
//	}
//
//
//}

void HAL_TIM_PeriodElapsedCallback(TIM_HandleTypeDef *htim) {

	if (htim == &htim6) {  // Assuming TIM2 is used for the timer

		//osSemaphoreRelease(myBinarySem02Handle);
		uint16_t data  = AUTO_PRESS;
		osSemaphoreRelease(myBinarySem02Handle);
//		osMessageQueuePut(myQueue01Handle  , &data , 1, 100);
    }
}
/* USER CODE END 4 */

void StartTask02(void *argument)
{
  /* USER CODE BEGIN 5 */
  /* Infinite loop */
  for(;;)
  {
	 osSemaphoreAcquire(myBinarySem02Handle, osWaitForever);
	osMutexAcquire(myMutex05Handle, osWaitForever);
	 printf("task2 \n");
	for (int i=0 ; i<20 ; i++){
		HAL_GPIO_TogglePin(GPIOB, LED2_Pin);
		osDelay(50);
		HAL_GPIO_TogglePin(GPIOB, LED2_Pin);
		osDelay(50);
	}
	//osMutexRelease(myMutex01Handle);
	 osMutexRelease(myMutex05Handle);
	 osSemaphoreRelease(myBinarySem05Handle);
  }
  /* USER CODE END 5 */
}

void StartTask(void *argument)
{
  /* USER CODE BEGIN StartTask */
  /* Infinite loop */
  for(;;)
  {
	  osSemaphoreAcquire(myBinarySem01Handle, osWaitForever);
	  osMutexAcquire(myMutex05Handle, osWaitForever);
	  printf("task1 \n");
	  for (int i=0 ; i<5 ; i++){
		  HAL_GPIO_TogglePin(GPIOB, LED2_Pin);
		  osDelay(500);
		  HAL_GPIO_TogglePin(GPIOB, LED2_Pin);
		  osDelay(500);
	  }
	  //osMutexRelease(myMutex01Handle);
	  osMutexRelease(myMutex05Handle);
	  osSemaphoreRelease(myBinarySem05Handle);
  }
  /* USER CODE END StartTask */
}

void StartTask03(void *argument)
{
  /* USER CODE BEGIN StartTask03 */
  /* Infinite loop */
  for(;;)
  {
	  osSemaphoreAcquire(myBinarySem03Handle, osWaitForever);
	  osMutexAcquire(myMutex05Handle, osWaitForever);
	  printf("task3 \n");
	  for (int i=0 ; i<50 ; i++){
		  HAL_GPIO_TogglePin(GPIOB, LED2_Pin);
		  osDelay(50);
		  HAL_GPIO_TogglePin(GPIOB, LED2_Pin);
		  osDelay(50);
	  }
	  //osMutexRelease(myMutex01Handle);
	  osMutexRelease(myMutex05Handle);
	  osSemaphoreRelease(myBinarySem05Handle);
  }
  /* USER CODE END StartTask03 */
}

void StartTask04(void *argument)
{
  /* USER CODE BEGIN StartTask04 */
  /* Infinite loop */
	//osSemaphoreRelease(myBinarySem05Handle);
//	for(;;){
//		//osSemaphoreAcquire(myBinarySem05Handle, osWaitForever);
//		//osMutexAcquire(myMutex01Handle, osWaitForever);
//		uint16_t data ;
//		osMessageQueueGet ( myQueue01Handle ,&data  ,NULL ,  osWaitForever );
//			if(data  == SHORT_PRESS ){
//				osSemaphoreRelease(myBinarySem03Handle);
//			}
//			else if(data == LONG_PRESS){
//				osSemaphoreRelease(myBinarySem01Handle);
//			}
//			else if(data   == AUTO_PRESS){
//				osSemaphoreRelease(myBinarySem02Handle);
//			}
//
//
//
//	}
  /* USER CODE END StartTask04 */
}

void Error_Handler(void)
{
  __disable_irq();
  while (1)
  {
  }
}
